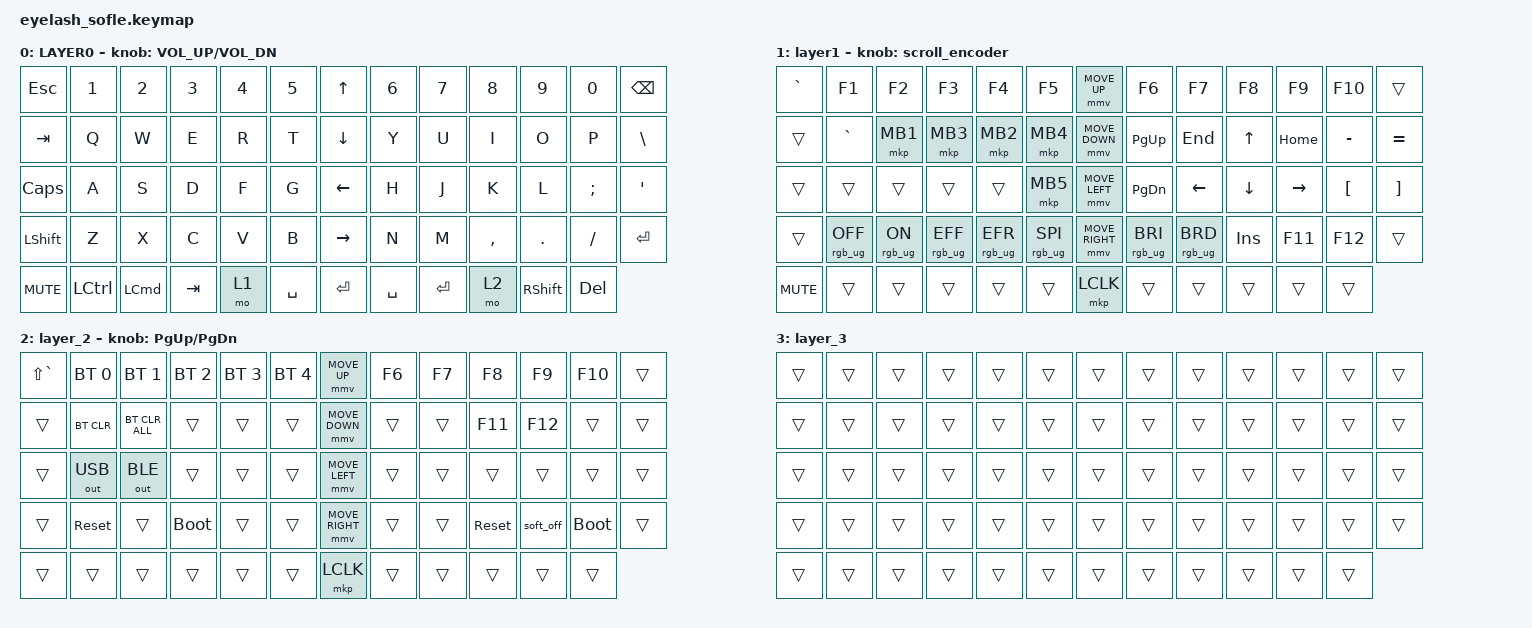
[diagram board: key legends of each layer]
#define ZMK_POINTING_DEFAULT_MOVE_VAL 1200  // 600
#define ZMK_POINTING_DEFAULT_SCRL_VAL 25   // 10

#include <input/processors.dtsi>
#include <zephyr/dt-bindings/input/input-event-codes.h>
#include <behaviors.dtsi>
#include <dt-bindings/zmk/bt.h>
#include <dt-bindings/zmk/keys.h>
#include <dt-bindings/zmk/outputs.h>
#include <dt-bindings/zmk/pointing.h>
#include <dt-bindings/zmk/rgb.h>

&mmv_input_listener { input-processors = <&zip_xy_scaler 2 1>; };

&msc_input_listener { input-processors = <&zip_scroll_scaler 2 1>; };

&msc {
    acceleration-exponent = <1>;      // 0
    time-to-max-speed-ms = <100>;       // 300
    delay-ms = <0>;                   // 0
};

&mmv {
    time-to-max-speed-ms = <500>;
    acceleration-exponent = <1>;
    trigger-period-ms = <16>;
};

/ {
    scroll_encoder: scroll_encoder {
        compatible = "zmk,behavior-sensor-rotate";
        #sensor-binding-cells = <0>;
        bindings = <&msc SCRL_DOWN>, <&msc SCRL_UP>;

        tap-ms = <100>;
    };

    behaviors {
    };

    combos {
        compatible = "zmk,combos";

        layer3 {
            bindings = <&to 3>;
            key-positions = <56 60>;
        };
    };

    keymap {
        compatible = "zmk,keymap";

        layer0 {
            bindings = <
&kp ESC         &kp NUMBER_1      &kp NUMBER_2      &kp NUMBER_3  &kp NUMBER_4  &kp NUMBER_5    &kp UP_ARROW     &kp NUMBER_6  &kp NUMBER_7  &kp NUMBER_8  &kp NUMBER_9     &kp NUMBER_0   &kp BACKSPACE
&kp TAB         &kp Q             &kp W             &kp E         &kp R         &kp T           &kp DOWN_ARROW   &kp Y         &kp U         &kp I         &kp O            &kp P          &kp BACKSLASH
&kp CAPS        &kp A             &kp S             &kp D         &kp F         &kp G           &kp LEFT_ARROW   &kp H         &kp J         &kp K         &kp L            &kp SEMICOLON  &kp SQT
&kp LEFT_SHIFT  &kp Z             &kp X             &kp C         &kp V         &kp B           &kp RIGHT_ARROW  &kp N         &kp M         &kp COMMA     &kp PERIOD       &kp SLASH      &kp ENTER
&kp C_MUTE      &kp LEFT_CONTROL  &kp LEFT_COMMAND  &kp TAB       &mo 1         &kp SPACE       &kp ENTER        &kp SPACE     &kp ENTER     &mo 2         &kp RIGHT_SHIFT  &kp DEL
            >;

            sensor-bindings = <&inc_dec_kp C_VOLUME_UP C_VOL_DN>;
            display-name = "LAYER0";
        };

        layer_1 {
            bindings = <
&kp GRAVE   &kp F1           &kp F2          &kp F3           &kp F4           &kp F5             &mmv MOVE_UP     &kp F6           &kp F7           &kp F8          &kp F9           &kp F10           &trans
&trans      &kp GRAVE        &mkp MB1        &mkp MB3         &mkp MB2         &mkp MB4           &mmv MOVE_DOWN   &kp PAGE_UP      &kp END          &kp UP_ARROW    &kp HOME         &kp MINUS         &kp EQUAL
&trans      &trans           &trans          &trans           &trans           &mkp MB5           &mmv MOVE_LEFT   &kp PAGE_DOWN    &kp LEFT_ARROW   &kp DOWN_ARROW  &kp RIGHT_ARROW  &kp LEFT_BRACKET  &kp RIGHT_BRACKET
&trans      &rgb_ug RGB_OFF  &rgb_ug RGB_ON  &rgb_ug RGB_EFF  &rgb_ug RGB_EFR  &rgb_ug RGB_SPI    &mmv MOVE_RIGHT  &rgb_ug RGB_BRI  &rgb_ug RGB_BRD  &kp INS         &kp F11          &kp F12           &trans
&kp C_MUTE  &trans           &trans          &trans           &trans           &trans             &mkp LCLK        &trans           &trans           &trans          &trans           &trans
            >;

            display-name = "layer1";
            sensor-bindings = <&scroll_encoder>;
        };

        layer_2 {
            bindings = <
&kp LS(GRAVE)  &bt BT_SEL 0  &bt BT_SEL 1    &bt BT_SEL 2  &bt BT_SEL 3  &bt BT_SEL 4    &mmv MOVE_UP     &kp F6  &kp F7  &kp F8      &kp F9     &kp F10      &trans
&trans         &bt BT_CLR    &bt BT_CLR_ALL  &trans        &trans        &trans          &mmv MOVE_DOWN   &trans  &trans  &kp F11     &kp F12    &trans       &trans
&trans         &out OUT_USB  &out OUT_BLE    &trans        &trans        &trans          &mmv MOVE_LEFT   &trans  &trans  &trans      &trans     &trans       &trans
&trans         &sys_reset    &trans          &bootloader   &trans        &trans          &mmv MOVE_RIGHT  &trans  &trans  &sys_reset  &soft_off  &bootloader  &trans
&trans         &trans        &trans          &trans        &trans        &trans          &mkp LCLK        &trans  &trans  &trans      &trans     &trans
            >;

            sensor-bindings = <&inc_dec_kp PAGE_UP PAGE_DOWN>;
        };

        layer_3 {
            bindings = <
&trans  &trans  &trans  &trans  &trans  &trans    &trans  &trans  &trans  &trans  &trans  &trans  &trans
&trans  &trans  &trans  &trans  &trans  &trans    &trans  &trans  &trans  &trans  &trans  &trans  &trans
&trans  &trans  &trans  &trans  &trans  &trans    &trans  &trans  &trans  &trans  &trans  &trans  &trans
&trans  &trans  &trans  &trans  &trans  &trans    &trans  &trans  &trans  &trans  &trans  &trans  &trans
&trans  &trans  &trans  &trans  &trans  &trans    &trans  &trans  &trans  &trans  &trans  &trans
            >;
        };
    };
};
